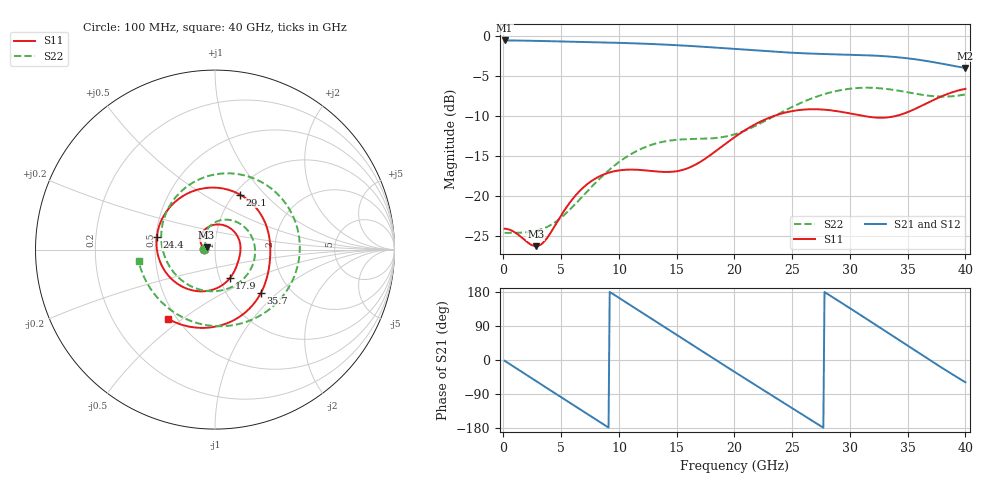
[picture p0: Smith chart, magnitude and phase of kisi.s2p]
! D_s8_cap_2: L1 (ref L2 GND) → L3 (ref L4 PWR), capacitor GND–PWR at 2 mm
! stackup: 8-layer 1.6 mm FR-4 (generic)
! ports: 1, 2
! kisi-fdtd, conformal, dfine 0.0175 mm (the cell at metal ÷ 2), 2066652 cells
# Hz S RI R 50
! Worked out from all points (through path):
!   400 points, 100 MHz to 40 GHz, reference 50 ohm
!   highest |S21| = -0.60 dB at 100 MHz (marker M1); lowest = -4.0 dB at 40 GHz (marker M2)
!   group delay of S21, straight-line fit = 54 ps
!   lowest |S11| = -26.2 dB at 2.8 GHz (marker M3), VSWR 1.10, Z = 45.5 + j1.25 ohm
!   |S11| at or under -10 dB: start of sweep to 23.42 GHz; 31.13 GHz to 34 GHz (2.864 GHz wide, 8.79 % of centre)
!   |S22| runs from -24.6 to -6.5 dB; largest |S21 - S12| = 0.0026
!   S11 on the Smith chart (normalised r, x): 100 MHz: 0.88, +0.00; 17.9 GHz: 1.11, -0.37; 24.4 GHz: 0.51, +0.08; 29.1 GHz: 1.06, +0.74; 35.7 GHz: 1.44, -0.79; 40 GHz: 0.45, -0.44
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1e8  -0.0628 0.00143  0.9329 -0.0322  0.9315 -0.032  -0.0591 0.00111
1.4e9  -0.0546 0.0154  0.8257 -0.4322  0.8253 -0.4309  -0.0573 0.015
2.8e9  -0.0469 0.0137  0.53 -0.7618  0.531 -0.7612  -0.0543 0.0274
4.8e9  -0.0694 0.0192  -0.0697 -0.9184  -0.0694 -0.9193  -0.0551 0.0458
6.8e9  -0.0772 0.0803  -0.6281 -0.6642  -0.6288 -0.6642  -0.0552 0.082
8.4e9  -0.0267 0.1312  -0.8762 -0.2403  -0.8762 -0.2397  -0.0336 0.1255
9.9e9  0.0496 0.1356  -0.8757 0.2184  -0.8753 0.2186  0.0186 0.16
1.18e10  0.1245 0.0759  -0.5597 0.6963  -0.5596 0.6959  0.1195 0.1546
1.34e10  0.1422 0.00638  -0.1147 0.8762  -0.115 0.8761  0.197 0.0859
1.54e10  0.1289 -0.0666  0.4564 0.7396  0.4564 0.7399  0.2173 -0.0612
1.67e10  0.1116 -0.1123  0.7201 0.4666  0.7204 0.4667  0.1646 -0.1568
1.79e10  0.0819 -0.1603  0.8353 0.1408  0.8355 0.1406  0.0744 -0.2164
2.01e10  -0.0468 -0.2308  0.6917 -0.4507  0.6915 -0.4508  -0.1356 -0.203
2.23e10  -0.2433 -0.1625  0.2023 -0.7784  0.2024 -0.7781  -0.2841 -0.0269
2.44e10  -0.3244 0.0699  -0.34 -0.7095  -0.3397 -0.7096  -0.2696 0.2111
2.67e10  -0.1559 0.3112  -0.7241 -0.2701  -0.7244 -0.2702  -0.0628 0.4018
2.91e10  0.1403 0.3061  -0.688 0.3319  -0.6879 0.3323  0.2549 0.3785
3.14e10  0.2903 0.1196  -0.2492 0.7129  -0.2488 0.7125  0.4593 0.1168
3.34e10  0.307 -0.0465  0.2584 0.6948  0.2578 0.6944  0.4223 -0.1912
3.57e10  0.257 -0.2394  0.6513 0.2872  0.6513 0.2883  0.1273 -0.4158
3.76e10  0.0978 -0.3969  0.6579 -0.1578  0.6595 -0.158  -0.1857 -0.3745
4e10  -0.2642 -0.3844  0.3255 -0.5385  0.3237 -0.5403  -0.4258 -0.0652
